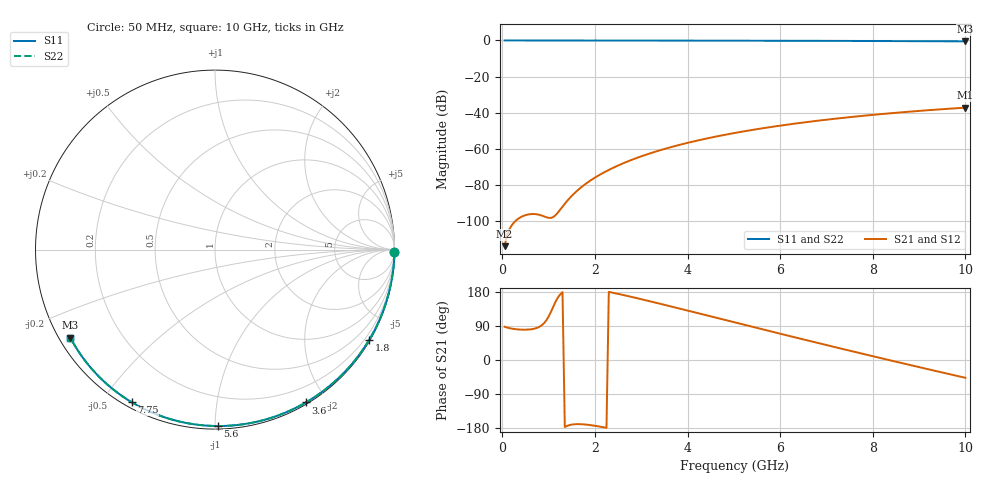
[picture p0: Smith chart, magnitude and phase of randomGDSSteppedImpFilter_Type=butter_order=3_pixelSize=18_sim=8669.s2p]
! freq	dB(S11)	phase(S11)	dB(S12)	phase(S12)
!  dB(S21)	phase(S21)	dB(S22)	phase(S22)
!S-par simulation data
#  GHz  S  DB  R 50
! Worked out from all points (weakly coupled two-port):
!   200 points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, 50 MHz to 10 GHz, reference 50 ohm
!   highest |S21| = -37.25 dB at 10 GHz (marker M1); lowest = -114.0 dB at 50 MHz (marker M2)
!   lowest |S11| = -0.5 dB at 10 GHz (marker M3), VSWR 34.42, Z = 1.57 - j14 ohm
!   |S11| at or under -10 dB: nowhere
!   |S22| runs from -0.5 to 0.0 dB; largest |S21 - S12| = 0
!   S11 on the Smith chart (normalised r, x): 50 MHz: open; 1.8 GHz: 0.03, -3.68; 3.6 GHz: 0.02, -1.76; 5.6 GHz: 0.02, -1.02; 7.75 GHz: 0.02, -0.59; 10 GHz: 0.03, -0.28
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0.05  -0.00 -0.9  -114.03 87.8  -114.03 87.8  -0.00 -0.9
0.45  -0.01 -7.7  -97.31 80.0  -97.31 80.0  -0.01 -7.7
0.9  -0.02 -15.3  -97.49 97.0  -97.49 97.0  -0.02 -15.3
1.3  -0.03 -22.1  -92.09 179.0  -92.09 179.0  -0.03 -22.1
1.75  -0.04 -29.6  -80.45 -169.8  -80.45 -169.8  -0.04 -29.5
1.8  -0.04 -30.4  -79.48 -170.4  -79.48 -170.4  -0.04 -30.4
1.95  -0.04 -32.9  -76.84 -172.6  -76.84 -172.6  -0.04 -32.8
2.1  -0.05 -35.3  -74.52 -175.6  -74.52 -175.6  -0.05 -35.3
2.3  -0.05 -38.6  -71.76 179.7  -71.76 179.7  -0.05 -38.6
2.5  -0.05 -41.8  -69.33 174.6  -69.33 174.6  -0.05 -41.8
2.9  -0.06 -48.3  -65.16 163.4  -65.16 163.4  -0.06 -48.2
3.4  -0.07 -56.2  -60.91 148.7  -60.91 148.7  -0.07 -56.1
3.6  -0.08 -59.3  -59.43 142.6  -59.43 142.6  -0.08 -59.3
4.3  -0.10 -70.0  -54.98 121.3  -54.98 121.3  -0.10 -70.0
5.05  -0.13 -81.1  -51.13 98.3  -51.13 98.3  -0.12 -81.1
5.6  -0.15 -89.1  -48.76 81.5  -48.76 81.5  -0.15 -89.0
6.15  -0.17 -96.8  -46.68 64.9  -46.68 64.9  -0.17 -96.8
6.7  -0.20 -104.5  -44.84 48.3  -44.84 48.3  -0.20 -104.4
7.75  -0.28 -118.7  -41.86 17.3  -41.86 17.3  -0.28 -118.7
8.35  -0.33 -126.7  -40.42 -0.2  -40.42 -0.2  -0.33 -126.7
9.2  -0.41 -138.0  -38.66 -24.5  -38.66 -24.5  -0.41 -138.0
10  -0.50 -148.7  -37.25 -47.0  -37.25 -47.0  -0.50 -148.6
